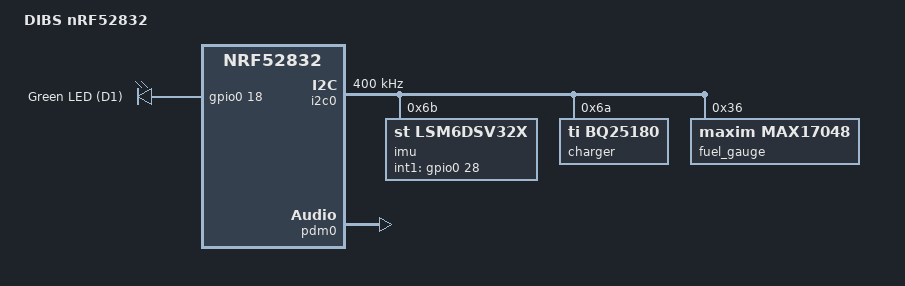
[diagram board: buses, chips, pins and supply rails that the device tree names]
/*
 * DIBS board (KiCad project dibs_nrf52_v21)
 *
 *   U1   nRF52832-CIAA (WLCSP), VDD = 1.8 V from PS1 TPS82740
 *   MK2  ICS-41350 PDM mic    CLK P0.16, DATA P0.15, SELECT = GND (left)
 *   U2   LSM6DSV32X IMU        I2C 0x6B, INT1 P0.28 (schematic says 16X)
 *   U3   BQ25180 charger       I2C 0x6A
 *   U4   MAX17048 fuel gauge   I2C 0x36, ALRT P0.08
 *   D1   green LED             VBAT -> R3 -> D1 -> Q1, gate P0.18
 *   Y1   32 MHz, Y2 32.768 kHz crystals
 *   J1   SWD (SWDIO, SWDCLK, +1V8, GND, VBUS); J1 NRST is not routed to P0.21
 */

/dts-v1/;
#include <nordic/nrf52832_ciaa.dtsi>
#include "dibs_nrf52832-pinctrl.dtsi"
#include <zephyr/dt-bindings/sensor/lsm6dsv16x.h>

/ {
	model = "DIBS nRF52832";
	compatible = "dibs,dibs-nrf52832";

	chosen {
		zephyr,sram = &sram0;
		zephyr,flash = &flash0;
		zephyr,code-partition = &slot0_partition;
	};

	leds {
		compatible = "gpio-leds";

		led0: led_0 {
			/* Runs from VBAT: only lights with a battery connected. */
			gpios = <&gpio0 18 GPIO_ACTIVE_HIGH>;
			label = "Green LED (D1)";
		};
	};

	aliases {
		led0 = &led0;
		accel0 = &imu;
		fuel-gauge0 = &fuel_gauge;
		charger0 = &charger;
		dmic0 = &pdm0;
		watchdog0 = &wdt0;
	};
};

/* DCC (B6) is not connected: there is no DC/DC inductor, so run from the LDO. */
&reg {
	regulator-initial-mode = <NRF5X_REG_MODE_LDO>;
};

&gpiote {
	status = "okay";
};

&gpio0 {
	status = "okay";
	/* IMU INT1 (P0.28) uses the low-power SENSE mechanism. As a GPIOTE IN
	 * channel it would keep the 16 MHz clock running and, with TWIM enabled,
	 * hit nRF52832 anomaly 89: ~0.3 mA extra at the battery. */
	sense-edge-mask = <(1 << 28)>;
};

/* TWIM0 shares its instance with SPIM0. */
&spi0 {
	status = "disabled";
};

&i2c0 {
	compatible = "nordic,nrf-twim";
	status = "okay";
	/* 4.7 k pull-ups (R1, R2) to 1.8 V. */
	clock-frequency = <I2C_BITRATE_FAST>;
	pinctrl-0 = <&i2c0_default>;
	pinctrl-1 = <&i2c0_sleep>;
	pinctrl-names = "default", "sleep";

	/* Fitted part is the LSM6DSV32X although the schematic symbol says 16X:
	 * WHO_AM_I (0x70) is shared, but CTRL8 resets to 0x04 and the
	 * sensitivity at range code 0 is 0.122 mg/LSB (+-4 g). SA0 = 1.8 V. */
	imu: lsm6dsv32x@6b {
		compatible = "st,lsm6dsv32x";
		reg = <0x6b>;
		int1-gpios = <&gpio0 28 GPIO_ACTIVE_HIGH>;
		drdy-pin = <1>;
		accel-odr = <LSM6DSV16X_DT_ODR_AT_120Hz>;
		gyro-odr = <LSM6DSV16X_DT_ODR_AT_120Hz>;
	};

	/* 30 mAh cell: 10 mA is ~0.33 C. */
	charger: bq25180@6a {
		compatible = "ti,bq25180";
		reg = <0x6a>;
		constant-charge-current-max-microamp = <10000>;
		constant-charge-voltage-max-microvolt = <4200000>;
	};

	fuel_gauge: max17048@36 {
		compatible = "maxim,max17048";
		reg = <0x36>;
	};
};

dmic_dev: &pdm0 {
	status = "okay";
	pinctrl-0 = <&pdm0_default>;
	pinctrl-names = "default";
	clock-source = "PCLK32M_HFXO";
};

&flash0 {
	partitions {
		compatible = "fixed-partitions";
		#address-cells = <1>;
		#size-cells = <1>;

		boot_partition: partition@0 {
			label = "mcuboot";
			reg = <0x00000000 0xc000>;
		};

		slot0_partition: partition@c000 {
			label = "image-0";
			reg = <0x0000c000 0x37000>;
		};

		slot1_partition: partition@43000 {
			label = "image-1";
			reg = <0x00043000 0x37000>;
		};

		storage_partition: partition@7a000 {
			label = "storage";
			reg = <0x0007a000 0x00006000>;
		};
	};
};
